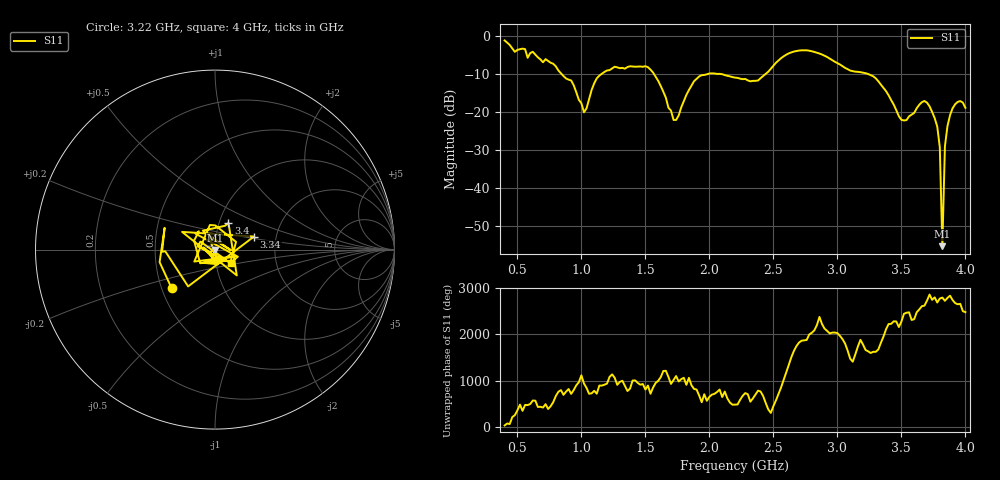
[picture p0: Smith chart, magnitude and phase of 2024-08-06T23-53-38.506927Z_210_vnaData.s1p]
!Created with skrf (http://scikit-rf.org).
# Hz S RI R 50.0
!freq ReS11 ImS11
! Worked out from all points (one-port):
!   181 points, 400 MHz to 4 GHz, reference 50 ohm
!   lowest |S11| = -55.2 dB at 3.82 GHz (marker M1), VSWR 1.00, Z = 50 - j0.173 ohm
!   |S11| at or under -10 dB: 1.567 GHz to 1.988 GHz (420.5 MHz wide, 23.7 % of centre); 2.089 GHz to 2.439 GHz (350.4 MHz wide, 15.5 % of centre); 3.24 GHz to end of sweep (the widest 3 of 4)
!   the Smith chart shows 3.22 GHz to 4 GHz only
!   S11 on the Smith chart (normalised r, x): 3.22 GHz: 0.56, -0.27; 3.34 GHz: 1.53, +0.24; 3.4 GHz: 1.11, +0.34; 4 GHz: 1.18, -0.17
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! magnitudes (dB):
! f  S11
! 400 MHz  -1.2
! 860 MHz  -10.5
! 920 MHz  -11.7
! 1.02 GHz  -20.1
! 1.12 GHz  -11.1
! 1.3 GHz  -8.5
! 1.52 GHz  -8.2
! 1.62 GHz  -13.2
! 1.72 GHz  -22.1
! 1.76 GHz  -20.9
! 1.92 GHz  -10.6
! 2.2 GHz  -10.9
! 2.38 GHz  -11.7
! 2.66 GHz  -4.1
! 3.1 GHz  -9.1
! 3.22 GHz  -9.8
! 3.34 GHz  -12.8
! 3.4 GHz  -15.6
! 3.5 GHz  -22.0
! 3.56 GHz  -21.1
! 3.68 GHz  -17.1
! 3.78 GHz  -23.8
! 3.8 GHz  -29.2
! 3.82 GHz  -55.2
! 3.84 GHz  -29.0
! 3.86 GHz  -23.7
! 3.92 GHz  -17.9
! 4 GHz  -18.9
